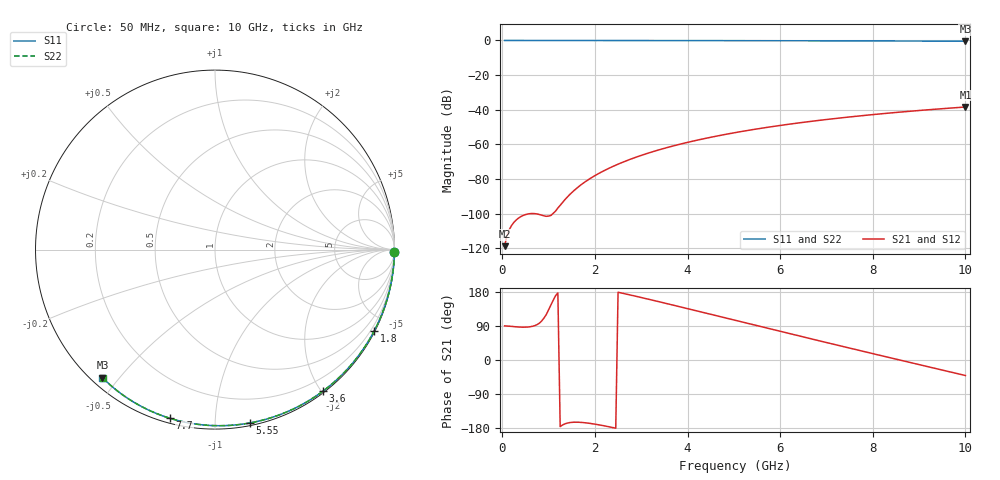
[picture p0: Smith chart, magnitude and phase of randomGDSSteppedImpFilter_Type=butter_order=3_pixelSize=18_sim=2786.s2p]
! freq	dB(S11)	phase(S11)	dB(S12)	phase(S12)
!  dB(S21)	phase(S21)	dB(S22)	phase(S22)
!S-par simulation data
#  GHz  S  DB  R 50
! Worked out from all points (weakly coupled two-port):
!   200 points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, 50 MHz to 10 GHz, reference 50 ohm
!   highest |S21| = -38.46 dB at 10 GHz (marker M1); lowest = -118.9 dB at 50 MHz (marker M2)
!   lowest |S11| = -0.4 dB at 10 GHz (marker M3), VSWR 39.07, Z = 1.54 - j22.6 ohm
!   |S11| at or under -10 dB: nowhere
!   |S22| runs from -0.4 to 0.0 dB; largest |S21 - S12| = 0
!   S11 on the Smith chart (normalised r, x): 50 MHz: open; 1.8 GHz: 0.04, -4.18; 3.6 GHz: 0.02, -2.02; 5.55 GHz: 0.02, -1.22; 7.7 GHz: 0.02, -0.77; 10 GHz: 0.03, -0.45
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0.05  -0.00 -0.8  -118.88 90.0  -118.88 90.0  -0.00 -0.8
0.9  -0.02 -13.6  -101.35 110.8  -101.35 110.8  -0.02 -13.6
1.75  -0.03 -26.2  -82.43 -165.1  -82.43 -165.1  -0.03 -26.1
1.8  -0.03 -26.9  -81.49 -165.8  -81.49 -165.8  -0.03 -26.9
1.85  -0.04 -27.6  -80.59 -166.5  -80.59 -166.5  -0.04 -27.6
1.9  -0.04 -28.4  -79.73 -167.4  -79.73 -167.4  -0.04 -28.3
2.05  -0.04 -30.6  -77.35 -170.3  -77.35 -170.3  -0.04 -30.5
2.25  -0.04 -33.5  -74.54 -174.9  -74.54 -174.9  -0.04 -33.4
2.45  -0.05 -36.4  -72.06 -179.9  -72.06 -179.9  -0.05 -36.3
2.65  -0.05 -39.2  -69.83 174.7  -69.83 174.7  -0.05 -39.2
3  -0.06 -44.2  -66.42 164.9  -66.42 164.9  -0.06 -44.1
3.4  -0.07 -49.8  -63.08 153.3  -63.08 153.3  -0.07 -49.7
3.6  -0.07 -52.6  -61.59 147.5  -61.59 147.5  -0.07 -52.5
4.3  -0.09 -62.2  -57.07 126.6  -57.07 126.6  -0.09 -62.1
5.05  -0.11 -72.1  -53.15 104.1  -53.15 104.1  -0.11 -72.0
5.55  -0.13 -78.6  -50.91 89.1  -50.91 89.1  -0.13 -78.5
6.1  -0.15 -85.6  -48.74 72.7  -48.74 72.7  -0.15 -85.4
6.7  -0.18 -93.0  -46.63 54.9  -46.63 54.9  -0.18 -92.8
7.7  -0.24 -105.0  -43.64 25.5  -43.64 25.5  -0.24 -104.8
8.35  -0.29 -112.6  -41.97 6.6  -41.97 6.6  -0.29 -112.3
9.15  -0.36 -121.7  -40.15 -16.5  -40.15 -16.5  -0.36 -121.5
10  -0.44 -131.3  -38.46 -41.0  -38.46 -41.0  -0.44 -131.1
